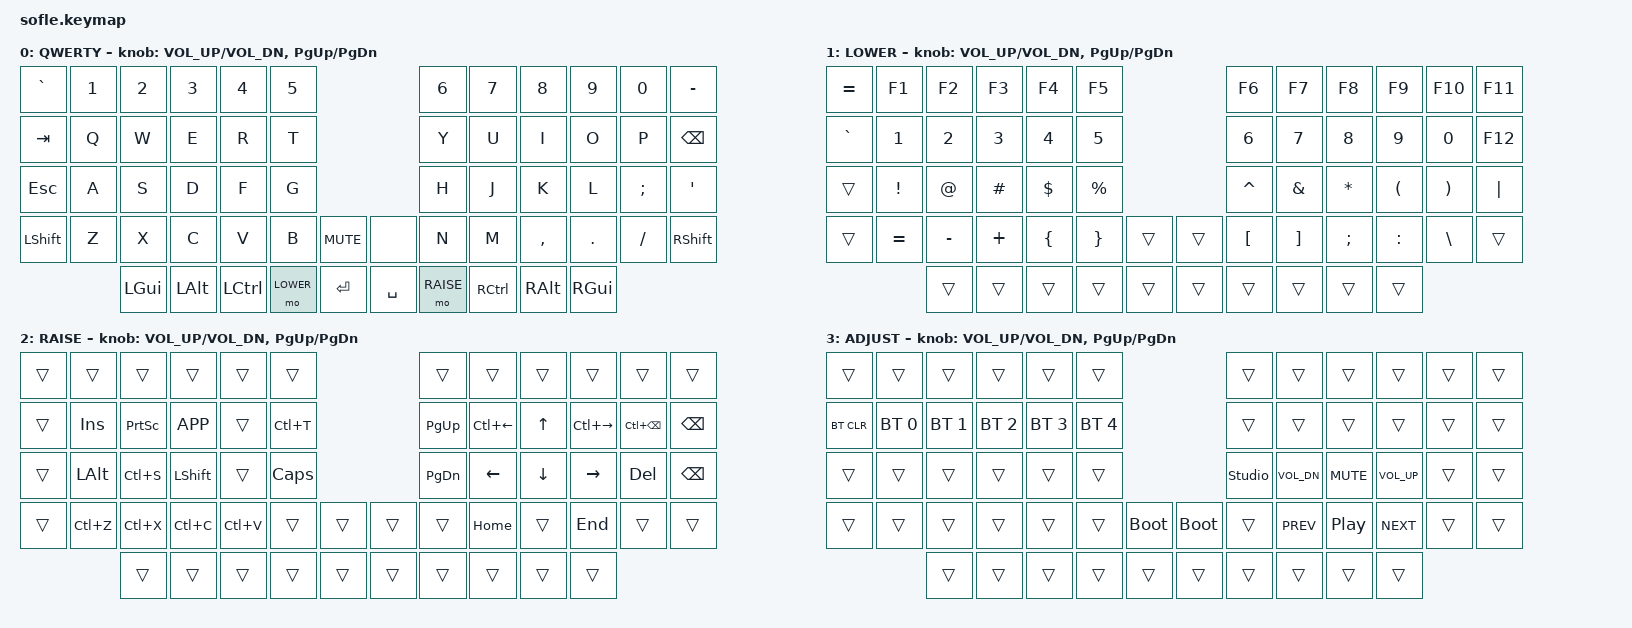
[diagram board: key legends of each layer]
/*
 * Copyright (c) 2020 The ZMK Contributors
 *
 * SPDX-License-Identifier: MIT
 */

#include <behaviors.dtsi>
#include <dt-bindings/zmk/keys.h>
#include <dt-bindings/zmk/bt.h>
#include <dt-bindings/zmk/ext_power.h>

#define QWERTY 0
#define LOWER  1
#define RAISE  2
#define ADJUST 3

/ {


    behaviors {
        hm: homerow_mods {
            compatible = "zmk,behavior-hold-tap";
            label = "HOMEROW_MODS";
            #binding-cells = <2>;
            tapping-term-ms = <150>;
            quick-tap-ms = <0>;
            flavor = "tap-preferred";
            bindings = <&kp>, <&kp>;
        };
    };

    conditional_layers {
        compatible = "zmk,conditional-layers";
        tri_layer {
            if-layers = <LOWER RAISE>;
            then-layer = <ADJUST>;
        };
    };

    keymap {
        compatible = "zmk,keymap";

        qwerty_layer {
            label = "QWERTY";
// ------------------------------------------------------------------------------------------------------------
// |  `    |  1  |  2  |  3   |  4   |  5   |                   |  6   |  7    |  8    |  9   |   0   |   -   |
// |  TAB  |  Q  |  W  |  E   |  R   |  T   |                   |  Y   |  U    |  I    |  O   |   P   | BKSPC |
// |  ESC  |  A  |  S  |  D   |  F   |  G   |                   |  H   |  J    |  K    |  L   |   ;   |   '   |
// | SHIFT |  Z  |  X  |  C   |  V   |  B   |  MUTE  |  |       |  N   |  M    |  ,    |  .   |   /   | SHIFT |
//               | GUI | ALT  | CTRL | LOWER|  ENTER |  | SPACE | RAISE| CTRL  | ALT   | GUI  |
            bindings = <
&kp GRAVE &kp N1 &kp N2   &kp N3   &kp N4    &kp N5                           &kp N6     &kp N7    &kp N8    &kp N9   &kp N0   &kp MINUS
&kp TAB   &kp Q  &kp W    &kp E    &kp R     &kp T                            &kp Y      &kp U     &kp I     &kp O    &kp P    &kp BSPC
&kp ESC   &kp A  &kp S    &kp D    &kp F     &kp G                            &kp H      &kp J     &kp K     &kp L    &kp SEMI &kp SQT
&kp LSHFT &kp Z  &kp X    &kp C    &kp V     &kp B      &kp C_MUTE &none      &kp N      &kp M     &kp COMMA &kp DOT  &kp FSLH &kp RSHFT
                 &kp LGUI &kp LALT &kp LCTRL &mo LOWER  &kp RET    &kp SPACE  &mo RAISE  &kp RCTRL &kp RALT  &kp RGUI
            >;

            sensor-bindings = <&inc_dec_kp C_VOL_UP C_VOL_DN &inc_dec_kp PG_UP PG_DN>;
        };

        lower_layer {
            label = "LOWER";
// ------------------------------------------------------------------------------------------------------------
// |   =   |  F1 |  F2 |  F3  |  F4  |  F5  |                   |  F6  |  F7   |  F8   |  F9  |  F10  |  F11  |
// |   `   |   1 |   2 |   3  |   4  |   5  |                   |   6  |   7   |   8   |   9  |    0  |  F12  |
// |       |  !  |  @  |  #   |  $   |  %   |                   |  ^   |  &    |  *    |  (   |   )   |   |   |
// |       |  =  |  -  |  +   |  {   |  }   |        |  |       |  [   |  ]    |  ;    |  :   |   \   |       |
//               |     |      |      |      |        |  |       |      |       |       |      |
            bindings = <
&kp EQUAL &kp F1    &kp F2    &kp F3      &kp F4    &kp F5                       &kp F6    &kp F7   &kp F8    &kp F9    &kp F10   &kp F11
&kp GRAVE &kp N1    &kp N2    &kp N3      &kp N4    &kp N5                       &kp N6    &kp N7   &kp N8    &kp N9    &kp N0    &kp F12
&trans    &kp EXCL  &kp AT    &kp HASH    &kp DLLR  &kp PRCNT                    &kp CARET &kp AMPS &kp ASTRK &kp LPAR  &kp RPAR  &kp PIPE
&trans    &kp EQUAL &kp MINUS &kp PLUS    &kp LBRC  &kp RBRC   &trans   &trans   &kp LBKT  &kp RBKT &kp SEMI  &kp COLON &kp BSLH  &trans
                    &trans    &trans      &trans    &trans     &trans   &trans   &trans    &trans   &trans    &trans
            >;

            sensor-bindings = <&inc_dec_kp C_VOL_UP C_VOL_DN &inc_dec_kp PG_UP PG_DN>;
        };

        raise_layer {
            label = "RAISE";
// ------------------------------------------------------------------------------------------------------------
// |       |     |     |      |      |      |                   |      |       |       |      |       |       |
// |       | INS | PSCR| MENU |      |CTL(T)|                   | PGUP | CTRL← |   ↑   |CTRL→ |CTL(BKSP)|BKSPC|
// |       | ALT |CTL(S)|SHIFT|      | CAPS |                   | PGDN |   ←   |   ↓   |  →   |  DEL  | BKSPC |
// |       | UNDO| CUT | COPY | PASTE|      |        |  |       |      | HOME  |       | END  |       |       |
//               |     |      |      |      |        |  |       |      |       |       |      |
            bindings = <
&trans &trans       &trans       &trans       &trans       &trans                        &trans    &trans       &trans       &trans        &trans         &trans
&trans &kp INS      &kp PSCRN    &kp K_APP    &trans       &kp LC(T)                     &kp PG_UP &kp LC(LEFT) &kp UP       &kp LC(RIGHT) &kp LC(BSPC)   &kp BSPC
&trans &kp LALT     &kp LC(S)    &kp LSHFT    &trans       &kp CAPS                      &kp PG_DN &kp LEFT     &kp DOWN     &kp RIGHT     &kp DEL        &kp BSPC
&trans &kp LC(Z)    &kp LC(X)    &kp LC(C)    &kp LC(V)    &trans       &trans   &trans  &trans    &kp HOME     &trans       &kp END       &trans         &trans
                    &trans       &trans       &trans       &trans       &trans   &trans  &trans    &trans       &trans       &trans
            >;

            sensor-bindings = <&inc_dec_kp C_VOL_UP C_VOL_DN &inc_dec_kp PG_UP PG_DN>;
        };



        adjust_layer {
            label = "ADJUST";
// ------------------------------------------------------------------------------------------------------------
// |       |     |     |      |      |      |                   |      |       |       |      |       |       |
// | BTCLR | BT1 | BT2 |  BT3 |  BT4 |  BT5 |                   |      |       |       |      |       |       |
// |       |     |     |      |      |      |                   |STUDIO| VOL-  | MUTE  | VOL+ |       |       |
// |       |     |     |      |      |      |  BOOT  |  | BOOT  |      | PREV  | PLAY  | NEXT |       |       |
//               |     |      |      |      |        |  |       |      |       |       |      |
            bindings = <
&trans     &trans       &trans       &trans       &trans       &trans                          &trans    &trans     &trans     &trans    &trans &trans
&bt BT_CLR &bt BT_SEL 0 &bt BT_SEL 1 &bt BT_SEL 2 &bt BT_SEL 3 &bt BT_SEL 4                   &trans    &trans     &trans     &trans    &trans &trans
&trans     &trans       &trans       &trans       &trans       &trans                          &studio_unlock &kp C_VOL_DN &kp C_MUTE &kp C_VOL_UP &trans &trans
&trans     &trans       &trans       &trans       &trans       &trans    &bootloader &bootloader &trans &kp C_PREV &kp C_PP   &kp C_NEXT &trans &trans
                        &trans       &trans       &trans       &trans    &trans      &trans      &trans    &trans     &trans     &trans
            >;

            sensor-bindings = <&inc_dec_kp C_VOL_UP C_VOL_DN &inc_dec_kp PG_UP PG_DN>;
        };
    };
};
